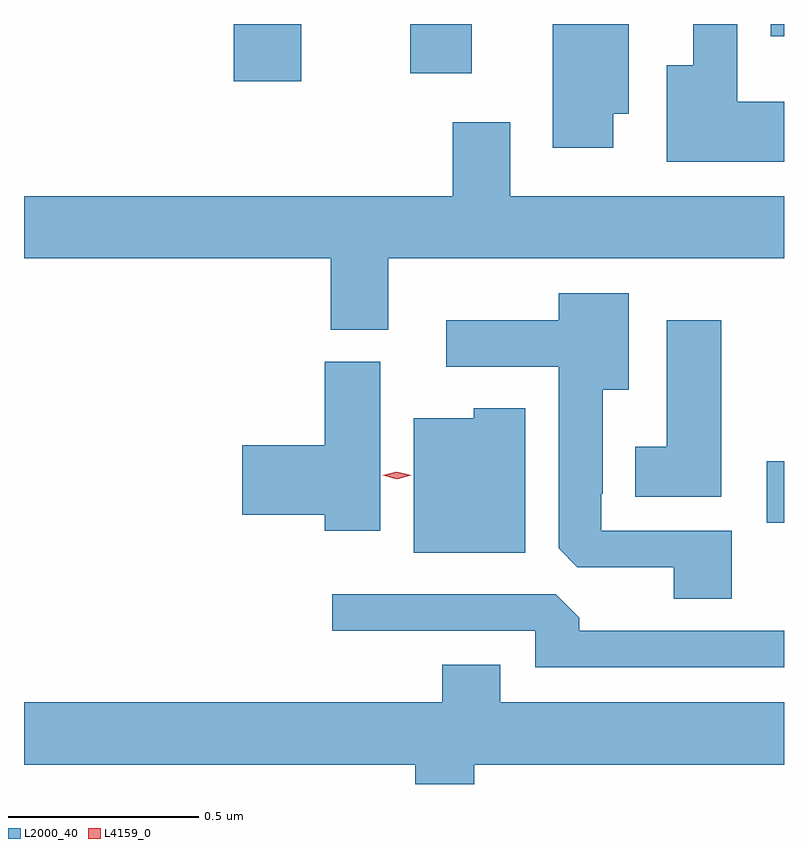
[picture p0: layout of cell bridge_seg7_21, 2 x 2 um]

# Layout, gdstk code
import gdstk
lib = gdstk.Library(unit=1e-6, precision=1e-09)
def R(c, l, rs):  # rectangles x0, y0, x1, y1
    for r in rs: c.add(gdstk.rectangle(r[:2], r[2:], *l))
def P(c, l, *ps):  # polygons
    for p in ps: c.add(gdstk.Polygon(p, *l))
L2000_40 = (2000, 40)
L4159_0 = (4159, 0)

bridge_seg7_21 = lib.new_cell('bridge_seg7_21')
R(bridge_seg7_21, L2000_40, [(1050.072,1054.532,1050.118,1054.695), (1048.67,1055.694,1048.848,1055.845), (1049.134,1055.715,1049.296,1055.845), (1050.083,1055.813,1050.118,1055.845)])
P(bridge_seg7_21, L2000_40, [(1050.118,1055.641),(1049.995,1055.641),(1049.995,1055.845),(1049.879,1055.845),(1049.879,1055.737),(1049.81,1055.737),(1049.81,1055.483),(1050.118,1055.483)],
  [(1049.668,1055.609),(1049.71,1055.609),(1049.71,1055.845),(1049.51,1055.845),(1049.51,1055.52),(1049.668,1055.52)],
  [(1049.077,1055.228),(1050.118,1055.228),(1050.118,1055.392),(1049.398,1055.392),(1049.398,1055.587),(1049.246,1055.587),(1049.246,1055.392),(1048.118,1055.392),(1048.118,1055.228),(1048.925,1055.228),(1048.925,1055.041),(1049.077,1055.041)],
  [(1049.981,1054.512),(1049.637,1054.512),(1049.637,1054.609),(1049.641,1054.609),(1049.641,1054.883),(1049.71,1054.883),(1049.71,1055.137),(1049.525,1055.137),(1049.525,1055.065),(1049.229,1055.065),(1049.229,1054.943),(1049.525,1054.943),(1049.525,1054.465),(1049.574,1054.416),(1049.828,1054.416),(1049.828,1054.333),(1049.981,1054.333)],
  [(1049.953,1055.065),(1049.81,1055.065),(1049.81,1054.732),(1049.726,1054.732),(1049.726,1054.601),(1049.953,1054.601)],
  [(1049.056,1054.956),(1048.91,1054.956),(1048.91,1054.736),(1048.692,1054.736),(1048.692,1054.553),(1048.91,1054.553),(1048.91,1054.512),(1049.056,1054.512)],
  [(1049.437,1054.834),(1049.301,1054.834),(1049.301,1054.807),(1049.144,1054.807),(1049.144,1054.454),(1049.437,1054.454)],
  [(1050.118,1054.248),(1049.579,1054.248),(1049.579,1054.282),(1049.517,1054.344),(1048.929,1054.344),(1048.929,1054.248),(1049.463,1054.248),(1049.463,1054.152),(1050.118,1054.152)],
  [(1049.219,1054.159),(1049.219,1054.06),(1048.118,1054.06),(1048.118,1053.896),(1049.147,1053.896),(1049.147,1053.845),(1049.303,1053.845),(1049.303,1053.896),(1050.118,1053.896),(1050.118,1054.06),(1049.371,1054.06),(1049.371,1054.159)])
P(bridge_seg7_21, L4159_0, [(1049.099,1054.647),(1049.062,1054.657),(1049.062,1054.657),(1049.062,1054.657),(1049.099,1054.667),(1049.137,1054.658),(1049.137,1054.658),(1049.137,1054.657)])

lib.write_gds('bridge_seg7_21.gds')
